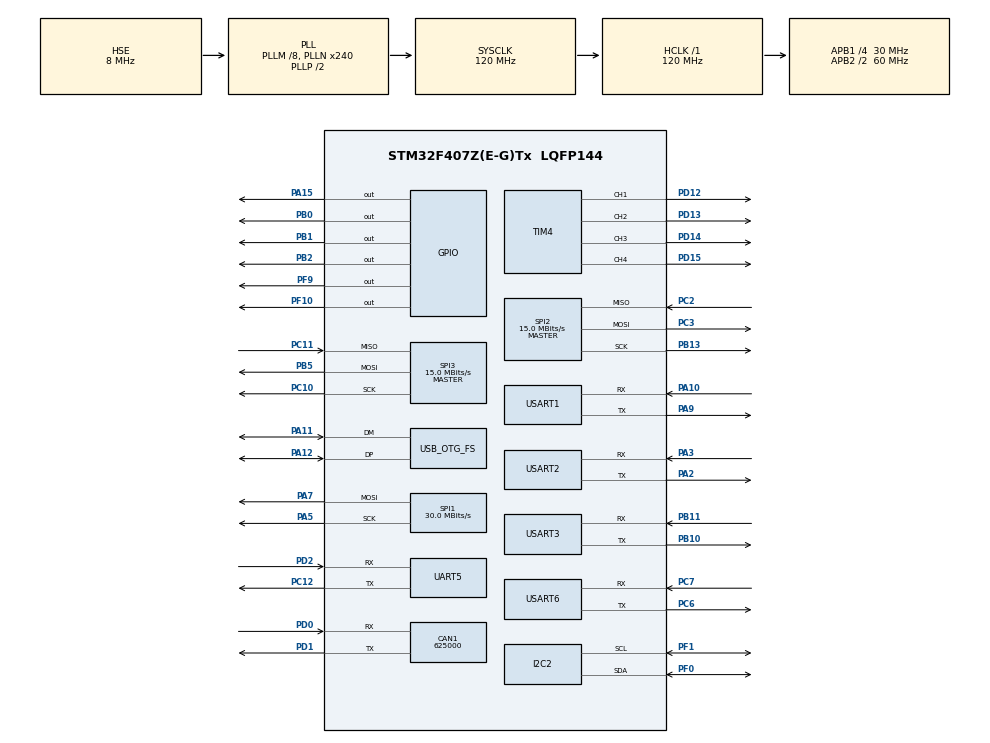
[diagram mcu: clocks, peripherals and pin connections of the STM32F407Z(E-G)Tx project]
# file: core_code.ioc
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CAN1.CalculateBaudRate=625000
CAN1.CalculateTimeBit=1600
CAN1.CalculateTimeQuantum=533.3333333333334
Dma.Request0=USART1_RX
Dma.Request1=USART1_TX
Dma.Request2=USART2_RX
Dma.Request3=USART2_TX
Dma.Request4=USART3_RX
Dma.Request5=USART3_TX
Dma.Request6=UART5_RX
Dma.Request7=UART5_TX
Dma.Request8=USART6_RX
Dma.Request9=USART6_TX
Dma.UART5_RX.6.Direction=DMA_PERIPH_TO_MEMORY
Dma.UART5_RX.6.FIFOMode=DMA_FIFOMODE_DISABLE
Dma.UART5_RX.6.Instance=DMA1_Stream0
Dma.UART5_RX.6.MemDataAlignment=DMA_MDATAALIGN_BYTE
Dma.UART5_RX.6.MemInc=DMA_MINC_ENABLE
Dma.UART5_RX.6.Mode=DMA_NORMAL
Dma.UART5_RX.6.PeriphDataAlignment=DMA_PDATAALIGN_BYTE
Dma.UART5_RX.6.PeriphInc=DMA_PINC_DISABLE
Dma.UART5_RX.6.Priority=DMA_PRIORITY_LOW
Dma.UART5_TX.7.Direction=DMA_MEMORY_TO_PERIPH
Dma.UART5_TX.7.FIFOMode=DMA_FIFOMODE_DISABLE
Dma.UART5_TX.7.Instance=DMA1_Stream7
Dma.UART5_TX.7.MemDataAlignment=DMA_MDATAALIGN_BYTE
Dma.UART5_TX.7.MemInc=DMA_MINC_ENABLE
Dma.UART5_TX.7.Mode=DMA_NORMAL
Dma.UART5_TX.7.PeriphDataAlignment=DMA_PDATAALIGN_BYTE
Dma.UART5_TX.7.PeriphInc=DMA_PINC_DISABLE
Dma.UART5_TX.7.Priority=DMA_PRIORITY_LOW
Dma.USART1_RX.0.Direction=DMA_PERIPH_TO_MEMORY
Dma.USART1_RX.0.FIFOMode=DMA_FIFOMODE_DISABLE
Dma.USART1_RX.0.Instance=DMA2_Stream2
Dma.USART1_RX.0.MemDataAlignment=DMA_MDATAALIGN_BYTE
Dma.USART1_RX.0.MemInc=DMA_MINC_ENABLE
Dma.USART1_RX.0.Mode=DMA_NORMAL
Dma.USART1_RX.0.PeriphDataAlignment=DMA_PDATAALIGN_BYTE
Dma.USART1_RX.0.PeriphInc=DMA_PINC_DISABLE
Dma.USART1_RX.0.Priority=DMA_PRIORITY_LOW
Dma.USART1_TX.1.Direction=DMA_MEMORY_TO_PERIPH
Dma.USART1_TX.1.FIFOMode=DMA_FIFOMODE_DISABLE
Dma.USART1_TX.1.Instance=DMA2_Stream7
Dma.USART1_TX.1.MemDataAlignment=DMA_MDATAALIGN_BYTE
Dma.USART1_TX.1.MemInc=DMA_MINC_ENABLE
Dma.USART1_TX.1.Mode=DMA_NORMAL
Dma.USART1_TX.1.PeriphDataAlignment=DMA_PDATAALIGN_BYTE
Dma.USART1_TX.1.PeriphInc=DMA_PINC_DISABLE
Dma.USART1_TX.1.Priority=DMA_PRIORITY_LOW
Dma.USART2_RX.2.Direction=DMA_PERIPH_TO_MEMORY
Dma.USART2_RX.2.FIFOMode=DMA_FIFOMODE_DISABLE
Dma.USART2_RX.2.Instance=DMA1_Stream5
Dma.USART2_RX.2.MemDataAlignment=DMA_MDATAALIGN_BYTE
Dma.USART2_RX.2.MemInc=DMA_MINC_ENABLE
Dma.USART2_RX.2.Mode=DMA_NORMAL
Dma.USART2_RX.2.PeriphDataAlignment=DMA_PDATAALIGN_BYTE
Dma.USART2_RX.2.PeriphInc=DMA_PINC_DISABLE
Dma.USART2_RX.2.Priority=DMA_PRIORITY_LOW
Dma.USART2_TX.3.Direction=DMA_MEMORY_TO_PERIPH
Dma.USART2_TX.3.FIFOMode=DMA_FIFOMODE_DISABLE
Dma.USART2_TX.3.Instance=DMA1_Stream6
Dma.USART2_TX.3.MemDataAlignment=DMA_MDATAALIGN_BYTE
Dma.USART2_TX.3.MemInc=DMA_MINC_ENABLE
Dma.USART2_TX.3.Mode=DMA_NORMAL
Dma.USART2_TX.3.PeriphDataAlignment=DMA_PDATAALIGN_BYTE
Dma.USART2_TX.3.PeriphInc=DMA_PINC_DISABLE
Dma.USART2_TX.3.Priority=DMA_PRIORITY_LOW
Dma.USART3_RX.4.Direction=DMA_PERIPH_TO_MEMORY
Dma.USART3_RX.4.FIFOMode=DMA_FIFOMODE_DISABLE
Dma.USART3_RX.4.Instance=DMA1_Stream1
Dma.USART3_RX.4.MemDataAlignment=DMA_MDATAALIGN_BYTE
Dma.USART3_RX.4.MemInc=DMA_MINC_ENABLE
Dma.USART3_RX.4.Mode=DMA_NORMAL
Dma.USART3_RX.4.PeriphDataAlignment=DMA_PDATAALIGN_BYTE
Dma.USART3_RX.4.PeriphInc=DMA_PINC_DISABLE
Dma.USART3_RX.4.Priority=DMA_PRIORITY_LOW
Dma.USART3_TX.5.Direction=DMA_MEMORY_TO_PERIPH
Dma.USART3_TX.5.FIFOMode=DMA_FIFOMODE_DISABLE
Dma.USART3_TX.5.Instance=DMA1_Stream3
Dma.USART3_TX.5.MemDataAlignment=DMA_MDATAALIGN_BYTE
Dma.USART3_TX.5.MemInc=DMA_MINC_ENABLE
Dma.USART3_TX.5.Mode=DMA_NORMAL
Dma.USART3_TX.5.PeriphDataAlignment=DMA_PDATAALIGN_BYTE
Dma.USART3_TX.5.PeriphInc=DMA_PINC_DISABLE
Dma.USART3_TX.5.Priority=DMA_PRIORITY_LOW
Dma.USART6_RX.8.Direction=DMA_PERIPH_TO_MEMORY
Dma.USART6_RX.8.FIFOMode=DMA_FIFOMODE_DISABLE
Dma.USART6_RX.8.Instance=DMA2_Stream1
Dma.USART6_RX.8.MemDataAlignment=DMA_MDATAALIGN_BYTE
Dma.USART6_RX.8.MemInc=DMA_MINC_ENABLE
Dma.USART6_RX.8.Mode=DMA_NORMAL
Dma.USART6_RX.8.PeriphDataAlignment=DMA_PDATAALIGN_BYTE
Dma.USART6_RX.8.PeriphInc=DMA_PINC_DISABLE
Dma.USART6_RX.8.Priority=DMA_PRIORITY_LOW
Dma.USART6_TX.9.Direction=DMA_MEMORY_TO_PERIPH
Dma.USART6_TX.9.FIFOMode=DMA_FIFOMODE_DISABLE
Dma.USART6_TX.9.Instance=DMA2_Stream6
Dma.USART6_TX.9.MemDataAlignment=DMA_MDATAALIGN_BYTE
Dma.USART6_TX.9.MemInc=DMA_MINC_ENABLE
Dma.USART6_TX.9.Mode=DMA_NORMAL
Dma.USART6_TX.9.PeriphDataAlignment=DMA_PDATAALIGN_BYTE
Dma.USART6_TX.9.PeriphInc=DMA_PINC_DISABLE
Dma.USART6_TX.9.Priority=DMA_PRIORITY_LOW
FREERTOS.Tasks01=defaultTask,24,128,StartDefaultTask,Default,NULL,Dynamic,NULL,NULL
Mcu.Family=STM32F4
Mcu.Name=STM32F407Z(E-G)Tx
Mcu.Package=LQFP144
NVIC.DMA1_Stream0_IRQn=true\:5\:0\:false\:false\:true\:true\:false\:true\:true
NVIC.DMA1_Stream1_IRQn=true\:5\:0\:false\:false\:true\:true\:false\:true\:true
NVIC.DMA1_Stream3_IRQn=true\:5\:0\:false\:false\:true\:true\:false\:true\:true
NVIC.DMA1_Stream5_IRQn=true\:5\:0\:false\:false\:true\:true\:false\:true\:true
NVIC.DMA1_Stream6_IRQn=true\:5\:0\:false\:false\:true\:true\:false\:true\:true
NVIC.DMA1_Stream7_IRQn=true\:5\:0\:false\:false\:true\:true\:false\:true\:true
NVIC.DMA2_Stream1_IRQn=true\:5\:0\:false\:false\:true\:true\:false\:true\:true
NVIC.DMA2_Stream2_IRQn=true\:5\:0\:false\:false\:true\:true\:false\:true\:true
NVIC.DMA2_Stream6_IRQn=true\:5\:0\:false\:false\:true\:true\:false\:true\:true
NVIC.DMA2_Stream7_IRQn=true\:5\:0\:false\:false\:true\:true\:false\:true\:true
NVIC.PriorityGroup=NVIC_PRIORITYGROUP_4
NVIC.USART1_IRQn=true\:5\:0\:false\:false\:true\:true\:true\:true\:true
NVIC.USART2_IRQn=true\:5\:0\:false\:false\:true\:true\:true\:true\:true
NVIC.USART3_IRQn=true\:5\:0\:false\:false\:true\:true\:true\:true\:true
PA10.Mode=Asynchronous
PA10.Signal=USART1_RX
PA11.Mode=Device_Only
PA11.Signal=USB_OTG_FS_DM
PA12.Mode=Device_Only
PA12.Signal=USB_OTG_FS_DP
PA13.Mode=Serial_Wire
PA13.Signal=SYS_JTMS-SWDIO
PA14.Mode=Serial_Wire
PA14.Signal=SYS_JTCK-SWCLK
PA15.Signal=GPIO_Output
PA2.Mode=Asynchronous
PA2.Signal=USART2_TX
PA3.Mode=Asynchronous
PA3.Signal=USART2_RX
PA5.Mode=TX_Only_Simplex_Unidirect_Master
PA5.Signal=SPI1_SCK
PA7.Mode=TX_Only_Simplex_Unidirect_Master
PA7.Signal=SPI1_MOSI
PA9.Mode=Asynchronous
PA9.Signal=USART1_TX
PB0.Signal=GPIO_Output
PB1.Signal=GPIO_Output
PB10.Mode=Asynchronous
PB10.Signal=USART3_TX
PB11.Mode=Asynchronous
PB11.Signal=USART3_RX
PB13.Mode=Full_Duplex_Master
PB13.Signal=SPI2_SCK
PB2.Signal=GPIO_Output
PB5.Mode=Full_Duplex_Master
PB5.Signal=SPI3_MOSI
PC10.Mode=Full_Duplex_Master
PC10.Signal=SPI3_SCK
PC11.Mode=Full_Duplex_Master
PC11.Signal=SPI3_MISO
PC12.Mode=Asynchronous
PC12.Signal=UART5_TX
PC14-OSC32_IN.Mode=LSE-External-Oscillator
PC14-OSC32_IN.Signal=RCC_OSC32_IN
PC15-OSC32_OUT.Mode=LSE-External-Oscillator
PC15-OSC32_OUT.Signal=RCC_OSC32_OUT
PC2.Mode=Full_Duplex_Master
PC2.Signal=SPI2_MISO
PC3.Mode=Full_Duplex_Master
PC3.Signal=SPI2_MOSI
PC6.Mode=Asynchronous
PC6.Signal=USART6_TX
PC7.Mode=Asynchronous
PC7.Signal=USART6_RX
PD0.Mode=CAN_Activate
PD0.Signal=CAN1_RX
PD1.Mode=CAN_Activate
PD1.Signal=CAN1_TX
PD12.Signal=S_TIM4_CH1
PD13.Signal=S_TIM4_CH2
PD14.Signal=S_TIM4_CH3
PD15.Signal=S_TIM4_CH4
PD2.Mode=Asynchronous
PD2.Signal=UART5_RX
PF0.Mode=SMBus-two-wire-Interface
PF0.Signal=I2C2_SDA
PF1.Mode=SMBus-two-wire-Interface
PF1.Signal=I2C2_SCL
PF10.Signal=GPIO_Output
PF9.Signal=GPIO_Output
PH0-OSC_IN.Mode=HSE-External-Oscillator
PH0-OSC_IN.Signal=RCC_OSC_IN
PH1-OSC_OUT.Mode=HSE-External-Oscillator
PH1-OSC_OUT.Signal=RCC_OSC_OUT
ProjectManager.HeapSize=0x200
ProjectManager.StackSize=0x400
ProjectManager.TargetToolchain=Makefile
RCC.48MHZClocksFreq_Value=48000000
RCC.AHBFreq_Value=120000000
RCC.APB1CLKDivider=RCC_HCLK_DIV4
RCC.APB1Freq_Value=30000000
RCC.APB1TimFreq_Value=60000000
RCC.APB2CLKDivider=RCC_HCLK_DIV2
RCC.APB2Freq_Value=60000000
RCC.APB2TimFreq_Value=120000000
RCC.CortexFreq_Value=120000000
RCC.HCLKFreq_Value=120000000
RCC.HSE_VALUE=8000000
RCC.HSI_VALUE=16000000
RCC.PLLM=8
RCC.PLLN=240
RCC.PLLQ=5
RCC.SYSCLKFreq_VALUE=120000000
RCC.SYSCLKSource=RCC_SYSCLKSOURCE_PLLCLK
RCC.VCOOutputFreq_Value=240000000
SH.S_TIM4_CH1.0=TIM4_CH1,PWM Generation1 CH1
SH.S_TIM4_CH2.0=TIM4_CH2,PWM Generation2 CH2
SH.S_TIM4_CH3.0=TIM4_CH3,PWM Generation3 CH3
SH.S_TIM4_CH4.0=TIM4_CH4,PWM Generation4 CH4
SPI1.CalculateBaudRate=30.0 MBits/s
SPI1.Direction=SPI_DIRECTION_2LINES
SPI1.Mode=SPI_MODE_MASTER
SPI1.VirtualType=VM_MASTER
SPI2.CalculateBaudRate=15.0 MBits/s
SPI2.Direction=SPI_DIRECTION_2LINES
SPI2.Mode=SPI_MODE_MASTER
SPI2.VirtualType=VM_MASTER
SPI3.CalculateBaudRate=15.0 MBits/s
SPI3.Direction=SPI_DIRECTION_2LINES
SPI3.Mode=SPI_MODE_MASTER
SPI3.VirtualType=VM_MASTER
TIM4.Channel-PWM\ Generation1\ CH1=TIM_CHANNEL_1
TIM4.Channel-PWM\ Generation2\ CH2=TIM_CHANNEL_2
TIM4.Channel-PWM\ Generation3\ CH3=TIM_CHANNEL_3
TIM4.Channel-PWM\ Generation4\ CH4=TIM_CHANNEL_4
TIM5.AutoReloadPreload=TIM_AUTORELOAD_PRELOAD_DISABLE
TIM5.ClockDivision=TIM_CLOCKDIVISION_DIV1
TIM5.CounterMode=TIM_COUNTERMODE_UP
TIM5.Period=4294967295
TIM5.Prescaler=59
UART5.VirtualMode=Asynchronous
USART1.VirtualMode=VM_ASYNC
USART2.VirtualMode=VM_ASYNC
USART3.VirtualMode=VM_ASYNC
USART6.VirtualMode=VM_ASYNC
USB_OTG_FS.VirtualMode=Device_Only
VP_FREERTOS_VS_CMSIS_V2.Mode=CMSIS_V2
VP_TIM4_VS_ClockSourceINT.Mode=Internal
VP_TIM5_VS_ClockSourceINT.Mode=Internal
board=custom

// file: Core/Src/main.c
/* USER CODE BEGIN Header */
/**
  ******************************************************************************
  * @file           : main.c
  * @brief          : Main program body
  ******************************************************************************
  * @attention
  *
  * Copyright (c) 2026 STMicroelectronics.
  * All rights reserved.
  *
  * This software is licensed under terms that can be found in the LICENSE file
  * in the root directory of this software component.
  * If no LICENSE file comes with this software, it is provided AS-IS.
  *
  ******************************************************************************
  */
/* USER CODE END Header */
#include "main.h"
#include "cmsis_os.h"

/* USER CODE BEGIN Includes */
#include "uart1_comm.h"
#include "uart1_proto.h"
#include "ws2812_spi.h"
#include "WaterPump.h"
#include "corexy.h"
#include "Grab.h"
#include "TurnTable.h"
#include "Servo.h"
/* USER CODE END Includes */

CAN_HandleTypeDef hcan1;

SMBUS_HandleTypeDef hsmbus2;

SPI_HandleTypeDef hspi1;
SPI_HandleTypeDef hspi2;
SPI_HandleTypeDef hspi3;

TIM_HandleTypeDef htim4;
TIM_HandleTypeDef htim5;

UART_HandleTypeDef huart5;
UART_HandleTypeDef huart1;
UART_HandleTypeDef huart2;
UART_HandleTypeDef huart3;
UART_HandleTypeDef huart6;
DMA_HandleTypeDef hdma_uart5_rx;
DMA_HandleTypeDef hdma_uart5_tx;
DMA_HandleTypeDef hdma_usart1_rx;
DMA_HandleTypeDef hdma_usart1_tx;
DMA_HandleTypeDef hdma_usart2_rx;
DMA_HandleTypeDef hdma_usart2_tx;
DMA_HandleTypeDef hdma_usart3_rx;
DMA_HandleTypeDef hdma_usart3_tx;
DMA_HandleTypeDef hdma_usart6_rx;
DMA_HandleTypeDef hdma_usart6_tx;

PCD_HandleTypeDef hpcd_USB_OTG_FS;

/* Definitions for defaultTask */
osThreadId_t defaultTaskHandle;
const osThreadAttr_t defaultTask_attributes = {
  .name = "defaultTask",
  .stack_size = 128 * 4,
  .priority = (osPriority_t) osPriorityNormal,
};

void SystemClock_Config(void);
static void MX_GPIO_Init(void);
static void MX_DMA_Init(void);
static void MX_CAN1_Init(void);
static void MX_I2C2_SMBUS_Init(void);
static void MX_SPI1_Init(void);
static void MX_SPI2_Init(void);
static void MX_SPI3_Init(void);
static void MX_TIM4_Init(void);
static void MX_UART5_Init(void);
static void MX_USART1_UART_Init(void);
static void MX_USART2_UART_Init(void);
static void MX_USART3_UART_Init(void);
static void MX_USART6_UART_Init(void);
static void MX_USB_OTG_FS_PCD_Init(void);
static void MX_TIM5_Init(void);
void StartDefaultTask(void *argument);

/* USER CODE BEGIN PFP */
void Uart1RxTask(void *argument);
void WS2812Task(void *argument);
void WaterPumpTask(void *argument);
void CoreXYTask(void *argument);
/* USER CODE END PFP */

int main(void)
{

  /* MCU Configuration--------------------------------------------------------*/

  /* Reset of all peripherals, Initializes the Flash interface and the Systick. */
  HAL_Init();

  /* Configure the system clock */
  SystemClock_Config();

  /* Initialize all configured peripherals */
  MX_GPIO_Init();
  MX_DMA_Init();
  MX_CAN1_Init();
  MX_I2C2_SMBUS_Init();
  MX_SPI1_Init();
  MX_SPI2_Init();
  MX_SPI3_Init();
  MX_TIM4_Init();
  MX_UART5_Init();
  MX_USART1_UART_Init();
  MX_USART2_UART_Init();
  MX_USART3_UART_Init();
  MX_USART6_UART_Init();
  MX_USB_OTG_FS_PCD_Init();
  MX_TIM5_Init();
  /* USER CODE BEGIN 2 */
    Uart1Comm_Init();
    Uart1Proto_Init();
    WS2812_Init();
    /* 独立初始化泵/阀 PWM；启停由水泵接口单独控制 */
    WaterPump_Init();
    (void)CoreXY_Init();
    (void)Grab_Init();
    TurnTable_Init();
    Servo_Init();
    osDelay(2000U);

  /* USER CODE END 2 */

  /* Init scheduler */
  osKernelInitialize();

  /* Create the thread(s) */
  /* creation of defaultTask */
  defaultTaskHandle = osThreadNew(StartDefaultTask, NULL, &defaultTask_attributes);

  /* USER CODE BEGIN RTOS_THREADS */
  /* add threads, ... */
  const osThreadAttr_t pa10Task_attributes = {
    .name = "pa10Blink",
    .stack_size = 128 * 4,
    .priority = (osPriority_t) osPriorityNormal,
  };
  osThreadNew(PA10BlinkTask, NULL, &pa10Task_attributes);

  const osThreadAttr_t uart1RxTask_attributes = {
    .name = "Uart1RxTask",
    .stack_size = 512 * 4,
    .priority = (osPriority_t) osPriorityNormal,
  };
  osThreadNew(Uart1RxTask, NULL, &uart1RxTask_attributes);

  const osThreadAttr_t ws2812Task_attributes = {
    .name = "WS2812Task",
    .stack_size = 256 * 4,
    .priority = (osPriority_t) osPriorityNormal,
  };
  osThreadNew(WS2812Task, NULL, &ws2812Task_attributes);

  const osThreadAttr_t waterPumpTask_attributes = {
    .name = "WaterPumpTask",
    .stack_size = 128 * 4,
    .priority = (osPriority_t) osPriorityNormal,
  };
  osThreadNew(WaterPumpTask, NULL, &waterPumpTask_attributes);

  /* CoreXY 是主动作任务：保持 Normal(24)，比舵机/转台的 BelowNormal(16) 高一级，
     两者都就绪时 CoreXY 优先拿到时间片，运动控制不会被灯光/舵机等挤占 */
  const osThreadAttr_t corexyTask_attributes = {
    .name = "CoreXYTask",
    .stack_size = 512 * 4,
    .priority = (osPriority_t) osPriorityNormal,
  };
  osThreadNew(CoreXYTask, NULL, &corexyTask_attributes);

  /* 舵机只是偶尔改一下 CCR，给低于 Normal 的优先级：运动控制/串口解析忙时它拿不到时间片，
     空闲时才轮到，不会争 CPU、也不会拖慢 CoreXY 的时序 */
  const osThreadAttr_t servoTask_attributes = {
    .name = "ServoTask",
    .stack_size = 128 * 4,
    .priority = (osPriority_t) osPriorityBelowNormal,
  };
  osThreadNew(ServoTask, NULL, &servoTask_attributes);

  /* 转台与舵机同优先级：两者按时间片轮转、平分正常优先级之外的剩余 CPU；
     任务体必须阻塞（osDelay），否则会互相饿死 */
  const osThreadAttr_t turnTableTask_attributes = {
    .name = "TurnTableTask",
    .stack_size = 128 * 4,
    .priority = (osPriority_t) osPriorityBelowNormal,
  };
  osThreadNew(TurnTableTask, NULL, &turnTableTask_attributes);

  /* 抓取任务与舵机/转台同优先级，平分正常优先级之外的剩余 CPU */
  const osThreadAttr_t grabTask_attributes = {
    .name = "GrabTask",
    .stack_size = 128 * 4,
    .priority = (osPriority_t) osPriorityBelowNormal,
  };
  osThreadNew(GrabTask, NULL, &grabTask_attributes);
  /* USER CODE END RTOS_THREADS */

  /* Start scheduler */
  osKernelStart();

  /* We should never get here as control is now taken by the scheduler */

  /* Infinite loop */
  while (1)
  {

  }
}

void SystemClock_Config(void)
{
  RCC_OscInitTypeDef RCC_OscInitStruct = {0};
  RCC_ClkInitTypeDef RCC_ClkInitStruct = {0};

  /** Configure the main internal regulator output voltage
  */
  __HAL_RCC_PWR_CLK_ENABLE();
  __HAL_PWR_VOLTAGESCALING_CONFIG(PWR_REGULATOR_VOLTAGE_SCALE1);

  /** Initializes the RCC Oscillators according to the specified parameters
  * in the RCC_OscInitTypeDef structure.
  */
  RCC_OscInitStruct.OscillatorType = RCC_OSCILLATORTYPE_HSE;
  RCC_OscInitStruct.HSEState = RCC_HSE_ON;
  RCC_OscInitStruct.PLL.PLLState = RCC_PLL_ON;
  RCC_OscInitStruct.PLL.PLLSource = RCC_PLLSOURCE_HSE;
  RCC_OscInitStruct.PLL.PLLM = 8;
  RCC_OscInitStruct.PLL.PLLN = 240;
  RCC_OscInitStruct.PLL.PLLP = RCC_PLLP_DIV2;
  RCC_OscInitStruct.PLL.PLLQ = 5;
  if (HAL_RCC_OscConfig(&RCC_OscInitStruct) != HAL_OK)
  {
    Error_Handler();
  }

  /** Initializes the CPU, AHB and APB buses clocks
  */
  RCC_ClkInitStruct.ClockType = RCC_CLOCKTYPE_HCLK|RCC_CLOCKTYPE_SYSCLK
                              |RCC_CLOCKTYPE_PCLK1|RCC_CLOCKTYPE_PCLK2;
  RCC_ClkInitStruct.SYSCLKSource = RCC_SYSCLKSOURCE_PLLCLK;
  RCC_ClkInitStruct.AHBCLKDivider = RCC_SYSCLK_DIV1;
  RCC_ClkInitStruct.APB1CLKDivider = RCC_HCLK_DIV4;
  RCC_ClkInitStruct.APB2CLKDivider = RCC_HCLK_DIV2;

  if (HAL_RCC_ClockConfig(&RCC_ClkInitStruct, FLASH_LATENCY_3) != HAL_OK)
  {
    Error_Handler();
  }
}

static void MX_CAN1_Init(void)
{

  hcan1.Instance = CAN1;
  hcan1.Init.Prescaler = 16;
  hcan1.Init.Mode = CAN_MODE_NORMAL;
  hcan1.Init.SyncJumpWidth = CAN_SJW_1TQ;
  hcan1.Init.TimeSeg1 = CAN_BS1_1TQ;
  hcan1.Init.TimeSeg2 = CAN_BS2_1TQ;
  hcan1.Init.TimeTriggeredMode = DISABLE;
  hcan1.Init.AutoBusOff = DISABLE;
  hcan1.Init.AutoWakeUp = DISABLE;
  hcan1.Init.AutoRetransmission = DISABLE;
  hcan1.Init.ReceiveFifoLocked = DISABLE;
  hcan1.Init.TransmitFifoPriority = DISABLE;
  if (HAL_CAN_Init(&hcan1) != HAL_OK)
  {
    Error_Handler();
  }

}

static void MX_I2C2_SMBUS_Init(void)
{

  hsmbus2.Instance = I2C2;
  hsmbus2.Init.ClockSpeed = 100000;
  hsmbus2.Init.OwnAddress1 = 0;
  hsmbus2.Init.AddressingMode = SMBUS_ADDRESSINGMODE_7BIT;
  hsmbus2.Init.DualAddressMode = SMBUS_DUALADDRESS_DISABLE;
  hsmbus2.Init.OwnAddress2 = 0;
  hsmbus2.Init.GeneralCallMode = SMBUS_GENERALCALL_DISABLE;
  hsmbus2.Init.NoStretchMode = SMBUS_NOSTRETCH_DISABLE;
  hsmbus2.Init.PacketErrorCheckMode = SMBUS_PEC_DISABLE;
  hsmbus2.Init.PeripheralMode = SMBUS_PERIPHERAL_MODE_SMBUS_SLAVE;
  if (HAL_SMBUS_Init(&hsmbus2) != HAL_OK)
  {
    Error_Handler();
  }

}

static void MX_SPI1_Init(void)
{

  /* SPI1 parameter configuration*/
  hspi1.Instance = SPI1;
  hspi1.Init.Mode = SPI_MODE_MASTER;
  hspi1.Init.Direction = SPI_DIRECTION_2LINES;
  hspi1.Init.DataSize = SPI_DATASIZE_8BIT;
  hspi1.Init.CLKPolarity = SPI_POLARITY_LOW;
  hspi1.Init.CLKPhase = SPI_PHASE_1EDGE;
  hspi1.Init.NSS = SPI_NSS_SOFT;
  hspi1.Init.BaudRatePrescaler = SPI_BAUDRATEPRESCALER_2;
  hspi1.Init.FirstBit = SPI_FIRSTBIT_MSB;
  hspi1.Init.TIMode = SPI_TIMODE_DISABLE;
  hspi1.Init.CRCCalculation = SPI_CRCCALCULATION_DISABLE;
  hspi1.Init.CRCPolynomial = 10;
  if (HAL_SPI_Init(&hspi1) != HAL_OK)
  {
    Error_Handler();
  }
  /* USER CODE BEGIN SPI1_Init 2 */
  /* WS2812 时序：SPI 时钟 7.5MHz（APB2 60MHz / 8），0x80/0xF8 编码 */
  hspi1.Init.BaudRatePrescaler = SPI_BAUDRATEPRESCALER_8;
  if (HAL_SPI_Init(&hspi1) != HAL_OK)
  {
    Error_Handler();
  }
  /* USER CODE END SPI1_Init 2 */

}

static void MX_SPI2_Init(void)
{

  /* SPI2 parameter configuration*/
  hspi2.Instance = SPI2;
  hspi2.Init.Mode = SPI_MODE_MASTER;
  hspi2.Init.Direction = SPI_DIRECTION_2LINES;
  hspi2.Init.DataSize = SPI_DATASIZE_8BIT;
  hspi2.Init.CLKPolarity = SPI_POLARITY_LOW;
  hspi2.Init.CLKPhase = SPI_PHASE_1EDGE;
  hspi2.Init.NSS = SPI_NSS_SOFT;
  hspi2.Init.BaudRatePrescaler = SPI_BAUDRATEPRESCALER_2;
  hspi2.Init.FirstBit = SPI_FIRSTBIT_MSB;
  hspi2.Init.TIMode = SPI_TIMODE_DISABLE;
  hspi2.Init.CRCCalculation = SPI_CRCCALCULATION_DISABLE;
  hspi2.Init.CRCPolynomial = 10;
  if (HAL_SPI_Init(&hspi2) != HAL_OK)
  {
    Error_Handler();
  }

}

static void MX_SPI3_Init(void)
{

  /* SPI3 parameter configuration*/
  hspi3.Instance = SPI3;
  hspi3.Init.Mode = SPI_MODE_MASTER;
  hspi3.Init.Direction = SPI_DIRECTION_2LINES;
  hspi3.Init.DataSize = SPI_DATASIZE_8BIT;
  hspi3.Init.CLKPolarity = SPI_POLARITY_LOW;
  hspi3.Init.CLKPhase = SPI_PHASE_1EDGE;
  hspi3.Init.NSS = SPI_NSS_SOFT;
  hspi3.Init.BaudRatePrescaler = SPI_BAUDRATEPRESCALER_2;
  hspi3.Init.FirstBit = SPI_FIRSTBIT_MSB;
  hspi3.Init.TIMode = SPI_TIMODE_DISABLE;
  hspi3.Init.CRCCalculation = SPI_CRCCALCULATION_DISABLE;
  hspi3.Init.CRCPolynomial = 10;
  if (HAL_SPI_Init(&hspi3) != HAL_OK)
  {
    Error_Handler();
  }

}

static void MX_TIM4_Init(void)
{

  TIM_ClockConfigTypeDef sClockSourceConfig = {0};
  TIM_MasterConfigTypeDef sMasterConfig = {0};
  TIM_OC_InitTypeDef sConfigOC = {0};

  htim4.Instance = TIM4;
  htim4.Init.Prescaler = 0;
  htim4.Init.CounterMode = TIM_COUNTERMODE_UP;
  htim4.Init.Period = 65535;
  htim4.Init.ClockDivision = TIM_CLOCKDIVISION_DIV1;
  htim4.Init.AutoReloadPreload = TIM_AUTORELOAD_PRELOAD_DISABLE;
  if (HAL_TIM_Base_Init(&htim4) != HAL_OK)
  {
    Error_Handler();
  }
  sClockSourceConfig.ClockSource = TIM_CLOCKSOURCE_INTERNAL;
  if (HAL_TIM_ConfigClockSource(&htim4, &sClockSourceConfig) != HAL_OK)
  {
    Error_Handler();
  }
  if (HAL_TIM_PWM_Init(&htim4) != HAL_OK)
  {
    Error_Handler();
  }
  sMasterConfig.MasterOutputTrigger = TIM_TRGO_RESET;
  sMasterConfig.MasterSlaveMode = TIM_MASTERSLAVEMODE_DISABLE;
  if (HAL_TIMEx_MasterConfigSynchronization(&htim4, &sMasterConfig) != HAL_OK)
  {
    Error_Handler();
  }
  sConfigOC.OCMode = TIM_OCMODE_PWM1;
  sConfigOC.Pulse = 0;
  sConfigOC.OCPolarity = TIM_OCPOLARITY_HIGH;
  sConfigOC.OCFastMode = TIM_OCFAST_DISABLE;
  if (HAL_TIM_PWM_ConfigChannel(&htim4, &sConfigOC, TIM_CHANNEL_1) != HAL_OK)
  {
    Error_Handler();
  }
  if (HAL_TIM_PWM_ConfigChannel(&htim4, &sConfigOC, TIM_CHANNEL_2) != HAL_OK)
  {
    Error_Handler();
  }
  if (HAL_TIM_PWM_ConfigChannel(&htim4, &sConfigOC, TIM_CHANNEL_3) != HAL_OK)
  {
    Error_Handler();
  }
  if (HAL_TIM_PWM_ConfigChannel(&htim4, &sConfigOC, TIM_CHANNEL_4) != HAL_OK)
  {
    Error_Handler();
  }
  /* USER CODE BEGIN TIM4_Init 2 */
  /* TIM4 时基（50Hz、1us 计数）由 WaterPump_Init 统一配置，此处保持 CubeMX 默认即可 */
  /* USER CODE END TIM4_Init 2 */
  HAL_TIM_MspPostInit(&htim4);

}

static void MX_TIM5_Init(void)
{

  TIM_ClockConfigTypeDef sClockSourceConfig = {0};
  TIM_MasterConfigTypeDef sMasterConfig = {0};

  htim5.Instance = TIM5;
  htim5.Init.Prescaler = 59;
  htim5.Init.CounterMode = TIM_COUNTERMODE_UP;
  htim5.Init.Period = 4294967295;
  htim5.Init.ClockDivision = TIM_CLOCKDIVISION_DIV1;
  htim5.Init.AutoReloadPreload = TIM_AUTORELOAD_PRELOAD_DISABLE;
  if (HAL_TIM_Base_Init(&htim5) != HAL_OK)
  {
    Error_Handler();
  }
  sClockSourceConfig.ClockSource = TIM_CLOCKSOURCE_INTERNAL;
  if (HAL_TIM_ConfigClockSource(&htim5, &sClockSourceConfig) != HAL_OK)
  {
    Error_Handler();
  }
  sMasterConfig.MasterOutputTrigger = TIM_TRGO_RESET;
  sMasterConfig.MasterSlaveMode = TIM_MASTERSLAVEMODE_DISABLE;
  if (HAL_TIMEx_MasterConfigSynchronization(&htim5, &sMasterConfig) != HAL_OK)
  {
    Error_Handler();
  }

}

static void MX_UART5_Init(void)
{

  huart5.Instance = UART5;
  huart5.Init.BaudRate = 115200;
  huart5.Init.WordLength = UART_WORDLENGTH_8B;
  huart5.Init.StopBits = UART_STOPBITS_1;
  huart5.Init.Parity = UART_PARITY_NONE;
  huart5.Init.Mode = UART_MODE_TX_RX;
  huart5.Init.HwFlowCtl = UART_HWCONTROL_NONE;
  huart5.Init.OverSampling = UART_OVERSAMPLING_16;
  if (HAL_UART_Init(&huart5) != HAL_OK)
  {
    Error_Handler();
  }

}

static void MX_USART1_UART_Init(void)
{

  huart1.Instance = USART1;
  huart1.Init.BaudRate = 115200;
  huart1.Init.WordLength = UART_WORDLENGTH_8B;
  huart1.Init.StopBits = UART_STOPBITS_1;
  huart1.Init.Parity = UART_PARITY_NONE;
  huart1.Init.Mode = UART_MODE_TX_RX;
  huart1.Init.HwFlowCtl = UART_HWCONTROL_NONE;
  huart1.Init.OverSampling = UART_OVERSAMPLING_16;
  if (HAL_UART_Init(&huart1) != HAL_OK)
  {
    Error_Handler();
  }

}

static void MX_USART2_UART_Init(void)
{

  huart2.Instance = USART2;
  huart2.Init.BaudRate = 115200;
  huart2.Init.WordLength = UART_WORDLENGTH_8B;
  huart2.Init.StopBits = UART_STOPBITS_1;
  huart2.Init.Parity = UART_PARITY_NONE;
  huart2.Init.Mode = UART_MODE_TX_RX;
  huart2.Init.HwFlowCtl = UART_HWCONTROL_NONE;
  huart2.Init.OverSampling = UART_OVERSAMPLING_16;
  if (HAL_UART_Init(&huart2) != HAL_OK)
  {
    Error_Handler();
  }

}

static void MX_USART3_UART_Init(void)
{

  huart3.Instance = USART3;
  huart3.Init.BaudRate = 115200;
  huart3.Init.WordLength = UART_WORDLENGTH_8B;
  huart3.Init.StopBits = UART_STOPBITS_1;
  huart3.Init.Parity = UART_PARITY_NONE;
  huart3.Init.Mode = UART_MODE_TX_RX;
  huart3.Init.HwFlowCtl = UART_HWCONTROL_NONE;
  huart3.Init.OverSampling = UART_OVERSAMPLING_16;
  if (HAL_UART_Init(&huart3) != HAL_OK)
  {
    Error_Handler();
  }

}

static void MX_USART6_UART_Init(void)
{

  huart6.Instance = USART6;
  huart6.Init.BaudRate = 115200;
  huart6.Init.WordLength = UART_WORDLENGTH_8B;
  huart6.Init.StopBits = UART_STOPBITS_1;
  huart6.Init.Parity = UART_PARITY_NONE;
  huart6.Init.Mode = UART_MODE_TX_RX;
  huart6.Init.HwFlowCtl = UART_HWCONTROL_NONE;
  huart6.Init.OverSampling = UART_OVERSAMPLING_16;
  if (HAL_UART_Init(&huart6) != HAL_OK)
  {
    Error_Handler();
  }

}

static void MX_USB_OTG_FS_PCD_Init(void)
{

  hpcd_USB_OTG_FS.Instance = USB_OTG_FS;
  hpcd_USB_OTG_FS.Init.dev_endpoints = 4;
  hpcd_USB_OTG_FS.Init.speed = PCD_SPEED_FULL;
  hpcd_USB_OTG_FS.Init.dma_enable = DISABLE;
  hpcd_USB_OTG_FS.Init.phy_itface = PCD_PHY_EMBEDDED;
  hpcd_USB_OTG_FS.Init.Sof_enable = DISABLE;
  hpcd_USB_OTG_FS.Init.low_power_enable = DISABLE;
  hpcd_USB_OTG_FS.Init.lpm_enable = DISABLE;
  hpcd_USB_OTG_FS.Init.vbus_sensing_enable = DISABLE;
  hpcd_USB_OTG_FS.Init.use_dedicated_ep1 = DISABLE;
  if (HAL_PCD_Init(&hpcd_USB_OTG_FS) != HAL_OK)
  {
    Error_Handler();
  }

}

static void MX_DMA_Init(void)
{

  /* DMA controller clock enable */
  __HAL_RCC_DMA2_CLK_ENABLE();
  __HAL_RCC_DMA1_CLK_ENABLE();

  /* DMA interrupt init */
  /* DMA1_Stream0_IRQn interrupt configuration */
  HAL_NVIC_SetPriority(DMA1_Stream0_IRQn, 5, 0);
  HAL_NVIC_EnableIRQ(DMA1_Stream0_IRQn);
  /* DMA1_Stream1_IRQn interrupt configuration */
  HAL_NVIC_SetPriority(DMA1_Stream1_IRQn, 5, 0);
  HAL_NVIC_EnableIRQ(DMA1_Stream1_IRQn);
  /* DMA1_Stream3_IRQn interrupt configuration */
  HAL_NVIC_SetPriority(DMA1_Stream3_IRQn, 5, 0);
  HAL_NVIC_EnableIRQ(DMA1_Stream3_IRQn);
  /* DMA1_Stream5_IRQn interrupt configuration */
  HAL_NVIC_SetPriority(DMA1_Stream5_IRQn, 5, 0);
  HAL_NVIC_EnableIRQ(DMA1_Stream5_IRQn);
  /* DMA1_Stream6_IRQn interrupt configuration */
  HAL_NVIC_SetPriority(DMA1_Stream6_IRQn, 5, 0);
  HAL_NVIC_EnableIRQ(DMA1_Stream6_IRQn);
  /* DMA1_Stream7_IRQn interrupt configuration */
  HAL_NVIC_SetPriority(DMA1_Stream7_IRQn, 5, 0);
  HAL_NVIC_EnableIRQ(DMA1_Stream7_IRQn);
  /* DMA2_Stream1_IRQn interrupt configuration */
  HAL_NVIC_SetPriority(DMA2_Stream1_IRQn, 5, 0);
  HAL_NVIC_EnableIRQ(DMA2_Stream1_IRQn);
  /* DMA2_Stream2_IRQn interrupt configuration */
  HAL_NVIC_SetPriority(DMA2_Stream2_IRQn, 5, 0);
  HAL_NVIC_EnableIRQ(DMA2_Stream2_IRQn);
  /* DMA2_Stream6_IRQn interrupt configuration */
  HAL_NVIC_SetPriority(DMA2_Stream6_IRQn, 5, 0);
  HAL_NVIC_EnableIRQ(DMA2_Stream6_IRQn);
  /* DMA2_Stream7_IRQn interrupt configuration */
  HAL_NVIC_SetPriority(DMA2_Stream7_IRQn, 5, 0);
  HAL_NVIC_EnableIRQ(DMA2_Stream7_IRQn);

}

static void MX_GPIO_Init(void)
{
  GPIO_InitTypeDef GPIO_InitStruct = {0};

  /* GPIO Ports Clock Enable */
  __HAL_RCC_GPIOC_CLK_ENABLE();
  __HAL_RCC_GPIOF_CLK_ENABLE();
  __HAL_RCC_GPIOH_CLK_ENABLE();
  __HAL_RCC_GPIOA_CLK_ENABLE();
  __HAL_RCC_GPIOB_CLK_ENABLE();
  __HAL_RCC_GPIOD_CLK_ENABLE();

  /*Configure GPIO pin Output Level */
  HAL_GPIO_WritePin(GPIOF, GPIO_PIN_9|GPIO_PIN_10, GPIO_PIN_RESET);

  /*Configure GPIO pin Output Level */
  HAL_GPIO_WritePin(GPIOB, GPIO_PIN_0|GPIO_PIN_1|GPIO_PIN_2, GPIO_PIN_RESET);

  /*Configure GPIO pin Output Level */
  HAL_GPIO_WritePin(GPIOA, GPIO_PIN_15, GPIO_PIN_RESET);

  /*Configure GPIO pins : PF9 PF10 */
  GPIO_InitStruct.Pin = GPIO_PIN_9|GPIO_PIN_10;
  GPIO_InitStruct.Mode = GPIO_MODE_OUTPUT_PP;
  GPIO_InitStruct.Pull = GPIO_NOPULL;
  GPIO_InitStruct.Speed = GPIO_SPEED_FREQ_LOW;
  HAL_GPIO_Init(GPIOF, &GPIO_InitStruct);

  /*Configure GPIO pins : PB0 PB1 PB2 */
  GPIO_InitStruct.Pin = GPIO_PIN_0|GPIO_PIN_1|GPIO_PIN_2;
  GPIO_InitStruct.Mode = GPIO_MODE_OUTPUT_PP;
  GPIO_InitStruct.Pull = GPIO_NOPULL;
  GPIO_InitStruct.Speed = GPIO_SPEED_FREQ_LOW;
  HAL_GPIO_Init(GPIOB, &GPIO_InitStruct);

  /*Configure GPIO pin : PA15 */
  GPIO_InitStruct.Pin = GPIO_PIN_15;
  GPIO_InitStruct.Mode = GPIO_MODE_OUTPUT_PP;
  GPIO_InitStruct.Pull = GPIO_NOPULL;
  GPIO_InitStruct.Speed = GPIO_SPEED_FREQ_LOW;
  HAL_GPIO_Init(GPIOA, &GPIO_InitStruct);

}

void StartDefaultTask(void *argument)
{
  for(;;)
  {
    osDelay(1);
  }
}

void Error_Handler(void)
{
  __disable_irq();
  while (1)
  {
  }
}

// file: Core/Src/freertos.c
/* USER CODE BEGIN Header */
/**
  ******************************************************************************
  * File Name          : freertos.c
  * Description        : Code for freertos applications
  ******************************************************************************
  * @attention
  *
  * Copyright (c) 2026 STMicroelectronics.
  * All rights reserved.
  *
  * This software is licensed under terms that can be found in the LICENSE file
  * in the root directory of this software component.
  * If no LICENSE file comes with this software, it is provided AS-IS.
  *
  ******************************************************************************
  */
/* USER CODE END Header */

#include "FreeRTOS.h"
#include "task.h"
#include "main.h"

/* USER CODE BEGIN Includes */
#include "cmsis_os2.h"
#include "uart1_comm.h"
#include "uart1_proto.h"
#include "ws2812_spi.h"
#include "WaterPump.h"
#include <string.h>
/* USER CODE END Includes */

/* USER CODE BEGIN FunctionPrototypes */

/**
 * @brief USART1 接收验证任务
 *
 * @details
 * - 设计意图：从 uart1_comm 消息队列取出接收数据块，用于底层通路联调验证
 * - 实现要点：从队列获取 (pData,len)，直接通过 Uart1Comm_Send 回显到上位机，便于观察收发是否正常
 * - 注意事项：当前仅用于调试，后续替换为 uart1_proto 解析逻辑
 *
 * @param argument 未使用
 * @retval 无
 */
void Uart1RxTask(void *argument);

/**
 * @brief WS2812 上电固定白光任务
 *
 * @details
 * - 设计意图：上电后灯带保持固定白色常亮，不做闪烁或流水效果
 * - 实现要点：任务启动时设置全部灯珠为白色并刷新一次，之后仅延时让出 CPU
 * - 数据流：操作 RGB 缓冲区后由 WS2812_Show() 编码并通过 SPI1 发送
 * - 注意事项：只需刷新一次，WS2812 会自行锁存显示，无需周期性重发
 *
 * @param argument 未使用
 * @retval 无
 */
void WS2812Task(void *argument);

/**
 * @brief PA10闪烁测试任务
 *
 * @details
 * - 设计意图：验证PA10 GPIO输出功能
 * - 实现要点：每500ms调用HAL_GPIO_TogglePin翻转PA10电平
 * - 注意事项：使用osDelay保证延时，避免阻塞调度器
 *
 * @param argument 未使用
 * @retval 无
 */
void PA10BlinkTask(void *argument);
void WaterPumpTask(void *argument);

/* USER CODE END FunctionPrototypes */

/* USER CODE BEGIN Application */

/**
 * @brief USART1 上位机命令处理任务
 *
 * @details
 * - 设计意图：把串口收到的数据交给 uart1_proto，分别处理水泵开关和 CoreXY 命令
 * - 实现要点：循环从 uart1_rx_queue 取数据块，调用 Uart1Proto_Feed 做按行解析
 * - 注意事项：
 *   1. 解析/动作在任务上下文执行，ISR 只负责入队，符合项目约束
 *   2. switch 命令只调用原有水泵启停函数；init 命令只控制 CoreXY
 *   3. 队列元素是数据拷贝，不依赖 DMA 缓冲区生命周期
 *
 * @param argument 未使用
 * @retval 无
 */
void Uart1RxTask(void *argument)
{
  (void)argument;
  osMessageQueueId_t rxQueue = Uart1Comm_GetRxQueueHandle();
  Uart1RxMsg_t msg;

  /* 上电后主动发送一条启动提示，便于确认串口发送通路正常 */
  Uart1Proto_Send("SmartClassify UART1 ready\r\n");

  if (rxQueue == NULL)
  {
    Uart1Proto_Send("ERR UART1 QUEUE\r\n");
    for (;;)
    {
      osDelay(1000);
    }
  }

  for (;;)
  {
    if (osMessageQueueGet(rxQueue, &msg, NULL, osWaitForever) == osOK)
    {
      Uart1Proto_Feed(msg.data, msg.len);
    }
  }
}

/**
 * @brief WS2812 上电固定白光任务实现
 *
 * @details
 * - 设计意图：上电后灯带固定白色常亮，不做闪烁或流水灯效果
 * - 实现要点：设置全部灯珠为白色并刷新一次，随后进入延时循环
 * - 数据流：仅操作 RGB 缓冲区，由 WS2812_Show() 统一编码并通过 SPI1 发送
 * - 注意事项：
 *   1. WS2812 自身锁存颜色，刷新一次即可保持，不需要周期性重发
 *   2. 循环内必须 osDelay 让出 CPU，否则会饿死低优先级任务
 *
 * @param argument 未使用
 * @retval 无
 */
void WS2812Task(void *argument)
{
  (void)argument;

  /* 上电即点亮全白，刷新一次后保持常亮 */
  WS2812_SetAll(255, 255, 255);
  WS2812_Show();

  for (;;)
  {
    osDelay(1000U);
  }
}

/**
 *
 * @details
 * - 设计意图：持续翻转PA10实现闪烁效果，用于硬件验证
 * - 实现要点：循环调用HAL_GPIO_TogglePin(GPIOF, GPIO_PIN_10)，每500ms延时
 * - 注意事项：任务需长期运行，使用osDelay而非HAL_Delay
 *
 * @param argument 未使用
 * @retval 无
 */
void PA10BlinkTask(void *argument)
{
  (void)argument;
  for (;;)
  {
    HAL_GPIO_TogglePin(GPIOF, GPIO_PIN_10);
    osDelay(200);
  }
}

/**
 * @brief 水泵任务入口：消费命令标志位，执行实际启停与调速
 *
 * @details 详细思路：
 * - 设计意图：串口解析只置标志/改变量，水泵的阀门时序（含 100~200ms 等待）统一在本任务执行，
 *   避免 Uart1RxTask 长时间阻塞，也避免多任务同时操作 TIM4 比较寄存器
 * - 实现要点：
 *   1. 每 100ms 检查一次标志，On/Off 优先于占空比刷新
 *   2. On：清标志后调用 WaterPump_Start()（先开阀再启泵）
 *   3. Off：清标志后调用 WaterPump_Stop()（先停泵再关阀）
 *   4. Duty：清标志后调用 WaterPump_ApplyDuty()，泵运行中即时刷新 CCR 改变转速
 *   5. On/Off 在解析侧互斥置位，这里只需按标志执行，最终状态等于最后一条命令
 * - 数据流：Uart1RxTask 置位 WaterPump_*Flag -> 本任务消费 -> TIM4 CCR1/CCR2
 * - 注意事项：本任务优先级为 osPriorityNormal(24)，循环里必须 osDelay 让出 CPU，
 *   否则会饿死 osPriorityBelowNormal(16) 的舵机任务；标志为 volatile，跨任务可见
 * - 调用关系：仅由 main.c 的 osThreadNew 创建，运行在任务上下文
 *
 * @param argument 未使用
 * @retval 无（任务不返回）
 */
void WaterPumpTask(void *argument)
{
  (void)argument;

  for (;;)
  {
    if (WaterPump_OnFlag != 0U)
    {
      WaterPump_OnFlag = 0U;
      WaterPump_DutyUpdateFlag = 0U;
      WaterPump_Start();
    }
    else if (WaterPump_OffFlag != 0U)
    {
      WaterPump_OffFlag = 0U;
      WaterPump_DutyUpdateFlag = 0U;
      WaterPump_Stop();
    }
    else if (WaterPump_DutyUpdateFlag != 0U)
    {
      WaterPump_DutyUpdateFlag = 0U;
      WaterPump_ApplyDuty();
    }

    osDelay(100U);
  }
}

/* USER CODE END Application */
